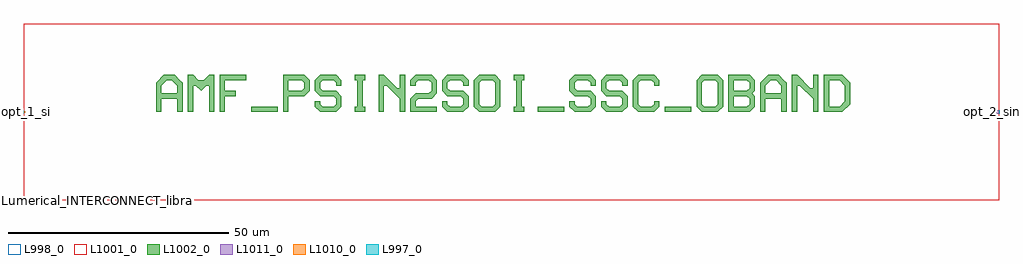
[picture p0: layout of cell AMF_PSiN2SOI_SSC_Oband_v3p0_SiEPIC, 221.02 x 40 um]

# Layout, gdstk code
import gdstk
lib = gdstk.Library(unit=1e-6, precision=1e-09)
def R(c, l, rs):  # rectangles x0, y0, x1, y1
    for r in rs: c.add(gdstk.rectangle(r[:2], r[2:], *l))
def P(c, l, *ps):  # polygons
    for p in ps: c.add(gdstk.Polygon(p, *l))
L997_0 = (997, 0)
L998_0 = (998, 0)
L1001_0 = (1001, 0)
L1002_0 = (1002, 0)
L1010_0 = (1010, 0)
L1011_0 = (1011, 0)

amf_psin2soi_ssc_oband_v = lib.new_cell('AMF_PSiN2SOI_SSC_Oband_v3p0')
R(amf_psin2soi_ssc_oband_v, L1001_0, [(0,-20,221,20)])
R(amf_psin2soi_ssc_oband_v, L1002_0, [(51.6,0,57.6,1.2), (116.4,0,122.4,1.2), (145.2,0,151.2,1.2)])
P(amf_psin2soi_ssc_oband_v, L1002_0, [(30,0),(30,6.6),(31.8,8.4),(34.2,8.4),(35.4,7.2),(32.4,7.2),(31.2,6),(31.2,4.2),(34.8,4.2),(34.8,6),(33.6,7.2),(35.4,7.2),(36,6.6),(36,0),(34.8,0),(34.8,3),(31.2,3),(31.2,0)],
  [(37.2,0),(37.2,8.4),(38.4,8.4),(39.6,7.2),(40.8,7.2),(42,8.4),(43.2,8.4),(43.2,0),(42,0),(42,6),(41.4,6),(40.2,4.8),(39,6),(38.4,6),(38.4,0)],
  [(44.4,0),(44.4,8.4),(50.4,8.4),(50.4,7.2),(45.6,7.2),(45.6,4.8),(48,4.8),(48,3.6),(45.6,3.6),(45.6,0)],
  [(58.8,0),(58.8,8.4),(63.6,8.4),(64.8,7.2),(64.8,4.8),(63.6,3.6),(60,3.6),(60,4.8),(63,4.8),(63.6,5.4),(63.6,6.6),(63,7.2),(60,7.2),(60,0)],
  [(67.2,0),(66,1.2),(66,2.4),(67.2,2.4),(67.2,1.8),(67.8,1.2),(70.2,1.2),(70.8,1.8),(70.8,3),(70.2,3.6),(67.2,3.6),(66,4.8),(66,7.2),(67.2,8.4),(70.8,8.4),(72,7.2),(72,6),(70.8,6),(70.8,6.6),(70.2,7.2),(67.8,7.2),(67.2,6.6),(67.2,5.4),(67.8,4.8),(70.8,4.8),(72,3.6),(72,1.2),(70.8,0)],
  [(75,0),(75,1.2),(75.6,1.2),(75.6,7.2),(75,7.2),(75,8.4),(77.4,8.4),(77.4,7.2),(76.8,7.2),(76.8,1.2),(77.4,1.2),(77.4,0)],
  [(80.4,0),(80.4,8.4),(81.6,8.4),(84.6,5.4),(85.2,5.4),(85.2,8.4),(86.4,8.4),(86.4,0),(85.2,0),(85.2,3),(82.2,6),(81.6,6),(81.6,0)],
  [(87.6,0),(87.6,3),(88.8,4.2),(91.8,4.2),(92.4,4.8),(92.4,6.6),(91.8,7.2),(89.4,7.2),(88.8,6.6),(88.8,6),(87.6,6),(87.6,7.2),(88.8,8.4),(92.4,8.4),(93.6,7.2),(93.6,4.2),(92.4,3),(89.4,3),(88.8,2.4),(88.8,1.2),(93.6,1.2),(93.6,0)],
  [(96,0),(94.8,1.2),(94.8,2.4),(96,2.4),(96,1.8),(96.6,1.2),(99,1.2),(99.6,1.8),(99.6,3),(99,3.6),(96,3.6),(94.8,4.8),(94.8,7.2),(96,8.4),(99.6,8.4),(100.8,7.2),(100.8,6),(99.6,6),(99.6,6.6),(99,7.2),(96.6,7.2),(96,6.6),(96,5.4),(96.6,4.8),(99.6,4.8),(100.8,3.6),(100.8,1.2),(99.6,0)],
  [(103.2,0),(102,1.2),(102,7.2),(103.2,8.4),(106.8,8.4),(108,7.2),(108,4.2),(106.8,4.2),(106.8,6.6),(106.2,7.2),(103.8,7.2),(103.2,6.6),(103.2,1.8),(103.8,1.2),(106.2,1.2),(106.8,1.8),(106.8,4.2),(108,4.2),(108,1.2),(106.8,0)],
  [(111,0),(111,1.2),(111.6,1.2),(111.6,7.2),(111,7.2),(111,8.4),(113.4,8.4),(113.4,7.2),(112.8,7.2),(112.8,1.2),(113.4,1.2),(113.4,0)],
  [(124.8,0),(123.6,1.2),(123.6,2.4),(124.8,2.4),(124.8,1.8),(125.4,1.2),(127.8,1.2),(128.4,1.8),(128.4,3),(127.8,3.6),(124.8,3.6),(123.6,4.8),(123.6,7.2),(124.8,8.4),(128.4,8.4),(129.6,7.2),(129.6,6),(128.4,6),(128.4,6.6),(127.8,7.2),(125.4,7.2),(124.8,6.6),(124.8,5.4),(125.4,4.8),(128.4,4.8),(129.6,3.6),(129.6,1.2),(128.4,0)],
  [(132,0),(130.8,1.2),(130.8,2.4),(132,2.4),(132,1.8),(132.6,1.2),(135,1.2),(135.6,1.8),(135.6,3),(135,3.6),(132,3.6),(130.8,4.8),(130.8,7.2),(132,8.4),(135.6,8.4),(136.8,7.2),(136.8,6),(135.6,6),(135.6,6.6),(135,7.2),(132.6,7.2),(132,6.6),(132,5.4),(132.6,4.8),(135.6,4.8),(136.8,3.6),(136.8,1.2),(135.6,0)],
  [(139.2,0),(138,1.2),(138,7.2),(139.2,8.4),(142.8,8.4),(144,7.2),(144,6),(142.8,6),(142.8,6.6),(142.2,7.2),(139.8,7.2),(139.2,6.6),(139.2,1.8),(139.8,1.2),(142.2,1.2),(142.8,1.8),(142.8,2.4),(144,2.4),(144,1.2),(142.8,0)],
  [(153.6,0),(152.4,1.2),(152.4,7.2),(153.6,8.4),(157.2,8.4),(158.4,7.2),(158.4,4.2),(157.2,4.2),(157.2,6.6),(156.6,7.2),(154.2,7.2),(153.6,6.6),(153.6,1.8),(154.2,1.2),(156.6,1.2),(157.2,1.8),(157.2,4.2),(158.4,4.2),(158.4,1.2),(157.2,0)],
  [(159.6,0),(159.6,8.4),(164.4,8.4),(165.6,7.2),(160.8,7.2),(160.8,4.8),(163.8,4.8),(164.4,5.4),(164.4,6.6),(163.8,7.2),(165.6,7.2),(165.6,4.8),(165,4.2),(165.6,3.6),(160.8,3.6),(160.8,1.2),(163.8,1.2),(164.4,1.8),(164.4,3),(163.8,3.6),(165.6,3.6),(165.6,1.2),(164.4,0)],
  [(166.8,0),(166.8,6.6),(168.6,8.4),(171,8.4),(172.2,7.2),(169.2,7.2),(168,6),(168,4.2),(171.6,4.2),(171.6,6),(170.4,7.2),(172.2,7.2),(172.8,6.6),(172.8,0),(171.6,0),(171.6,3),(168,3),(168,0)],
  [(174,0),(174,8.4),(175.2,8.4),(178.2,5.4),(178.8,5.4),(178.8,8.4),(180,8.4),(180,0),(178.8,0),(178.8,3),(175.8,6),(175.2,6),(175.2,0)],
  [(181.2,0),(181.2,8.4),(185.4,8.4),(186.6,7.2),(182.4,7.2),(182.4,1.2),(184.8,1.2),(186,2.4),(186,6),(184.8,7.2),(186.6,7.2),(187.2,6.6),(187.2,1.8),(185.4,0)])
R(amf_psin2soi_ssc_oband_v, L1010_0, [(0,-0.205,0.41,0.205)])
R(amf_psin2soi_ssc_oband_v, L1011_0, [(220.2,-0.4,221,0.4)])
amf_psin2soi_ssc_oband_v.add(gdstk.Label('opt_2_sin', (221,0), layer=1011, texttype=0))
amf_psin2soi_ssc_oband_v.add(gdstk.Label('opt_1_si', (0,0), layer=1010, texttype=0))

c_amf_psin2soi_ssc_oband_v = lib.new_cell('AMF_PSiN2SOI_SSC_Oband_v3p0_SiEPIC')
R(c_amf_psin2soi_ssc_oband_v, L998_0, [(0,-20,221,20)])
c_amf_psin2soi_ssc_oband_v.add(gdstk.FlexPath([(0.01,0),(-0.01,0)], 0.8, ends="flush", simple_path=True, layer=997, datatype=0))  # L997_0
c_amf_psin2soi_ssc_oband_v.add(gdstk.FlexPath([(220.99,0),(221.01,0)], 0.8, ends="flush", simple_path=True, layer=997, datatype=0))  # L997_0
c_amf_psin2soi_ssc_oband_v.add(gdstk.Reference(amf_psin2soi_ssc_oband_v, (0,0)))
c_amf_psin2soi_ssc_oband_v.add(gdstk.Label('Lumerical_INTERCONNECT_library=Design kits/AMF_CML', (0,-20), layer=998, texttype=0))
c_amf_psin2soi_ssc_oband_v.add(gdstk.Label('Component=AMF_PSiN2SOI_SSC_Oband_v3p0', (0,-19.9), layer=998, texttype=0))
c_amf_psin2soi_ssc_oband_v.add(gdstk.Label('opt_1_si', (0,0), layer=997, texttype=0))
c_amf_psin2soi_ssc_oband_v.add(gdstk.Label('opt_2_sin', (221,0), layer=997, texttype=0))
c_amf_psin2soi_ssc_oband_v.add(gdstk.Label('opt_1_si', (0,0), layer=997, texttype=0))
c_amf_psin2soi_ssc_oband_v.add(gdstk.Label('opt_2_sin', (221,0), layer=997, texttype=0))

lib.write_gds('AMF_PSiN2SOI_SSC_Oband_v3p0_SiEPIC.gds')
